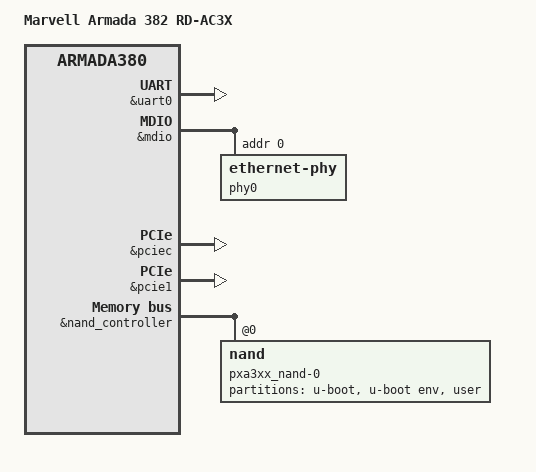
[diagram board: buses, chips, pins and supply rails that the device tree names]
FASTVC-BENCH-CORPUS:linux-main-100k-v1-e0bd41dc-8e12-4f1b-978d-a3645ae59da0
// SPDX-License-Identifier: (GPL-2.0 OR MIT)
/*
 * Device Tree file for Marvell Armada 382 reference board
 * (RD-AC3X-48G4X2XL)
 *
 * Copyright (C) 2020 Allied Telesis Labs
 */

/dts-v1/;
#include "armada-385.dtsi"

#include <dt-bindings/gpio/gpio.h>

/ {
	model = "Marvell Armada 382 RD-AC3X";
	compatible = "marvell,rd-ac3x-48g4x2xl", "marvell,rd-ac3x",
			 "marvell,armada385", "marvell,armada380";

	chosen {
		stdout-path = "serial0:115200n8";
	};

	aliases {
		ethernet0 = &eth1;
/* bench 2090.0.0 098bede7a8d1 */
/* bench 2090.0.1 a75876f1e34a */
/* bench 2090.0.2 37507ea222cf */
/* bench 2090.0.3 07db37c937fd */
	memory {
		device_type = "memory";
		reg = <0x00000000 0x20000000>; /* 512MB */
	};

	soc {
		ranges = <MBUS_ID(0xf0, 0x01) 0 0xf1000000 0x100000
			  MBUS_ID(0x01, 0x1d) 0 0xfff00000 0x100000>;
	};
};
/* bench 15273.1.0 19cad61addd6 */
/* bench 15273.1.1 c2be60f40148 */
/* bench 15273.1.2 684aba61b319 */
/* bench 15273.1.3 e4827b6bbe4f */
/* bench 15273.1.4 e04606d68592 */
/* bench 15273.1.5 d69cb850693d */
/* bench 15273.1.6 781091109f80 */
	pinctrl-names = "default";
	pinctrl-0 = <&i2c0_pins>;
	status = "okay";

	eeprom@53{
		compatible = "atmel,24c64";
		reg = <0x53>;
/* bench 25888.0.0 f58e5f5992f5 */
/* bench 25888.0.1 413b29fb782d */
/* bench 25888.0.2 6f21d622b62c */
/* bench 25888.0.3 71cce9e509b9 */
/* bench 25888.0.4 12850d60ca07 */
/* bench 25888.0.5 bfb0e13c0c34 */
	/* CPLD device present at 0x3c. Function unknown */
};

&uart0 {
	pinctrl-names = "default";
	pinctrl-0 = <&uart0_pins>;
	status = "okay";
};

&eth1 {
	status = "okay";
	phy = <&phy0>;
	phy-mode = "rgmii-id";
};

&mdio {
	pinctrl-names = "default";
	pinctrl-0 = <&mdio_pins>;

	phy0: ethernet-phy@0 {
		reg = <0>;
	};
};

&pciec {
	status = "okay";
};

&pcie1 {
	/* Port 0, Lane 0 */
	status = "okay";
};

&nand_controller {
	status = "okay";

	nand@0 {
		reg = <0>;
		label = "pxa3xx_nand-0";
		nand-rb = <0>;
		nand-on-flash-bbt;

		partitions {
			compatible = "fixed-partitions";
			#address-cells = <1>;
			#size-cells = <1>;
			partition@0 {
				reg = <0x00000000 0x00500000>;
				label = "u-boot";
			};
			partition@500000{
				reg = <0x00500000 0x00400000>;
				label = "u-boot env";
			};
			partition@900000{
				reg = <0x00900000 0x3F700000>;
				label = "user";
			};
		};
	};
};

&refclk {
	clock-frequency = <200000000>;
};
